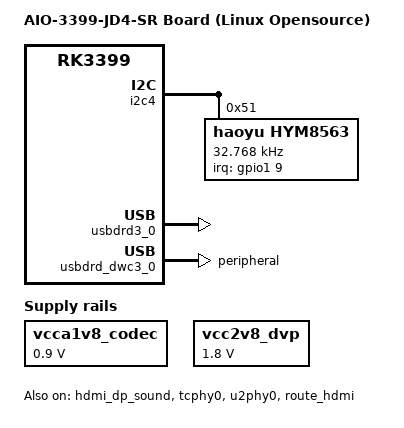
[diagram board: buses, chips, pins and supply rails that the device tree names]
/dts-v1/;

#include "rk3399-firefly-port.dtsi"
#include <dt-bindings/sensor-dev.h>

/ {
	model = "AIO-3399-JD4-SR Board (Linux Opensource)";
	compatible = "rockchip,rk3399-firefly", "rockchip,rk3399";
	
	/delete-node/ gpio-keys;
	/delete-node/ wireless-wlan;
	/delete-node/ wireless-bluetooth;
	test-power {
		status = "okay";
	};
};

&pwm3 {
	status = "disabled";
};

&sdio0 {
	status = "disabled";
};

&sdio_pwrseq {
	status = "disabled";
};

&i2s0 {
	status = "disabled";
};

&sdmmc {
	status = "disabled";
};

&rt5640 {
	status = "disabled";
};

/* rtc */
&spi1 {
    	status = "disabled";
};

&rk808{
	rtc {
		status = "disabled";
	};	
};

//pcie0 reset port
&pcie0 {
	ep-gpios = <&gpio1 4 GPIO_ACTIVE_HIGH>;
};


&i2c4 {
	status = "okay";
	hym8563: hym8563@51 {
		compatible = "haoyu,hym8563";
		reg = <0x51>;
		interrupt-parent = <&gpio1>;
		interrupts = <9 IRQ_TYPE_EDGE_FALLING>;
		pinctrl-names = "default";
		pinctrl-0 = <&rtc_int>;
		#clock-cells = <0>;
		clock-frequency = <32768>;
		clock-output-names = "xin32k";
	};
};

/* Usb 5v */

&vcc5v0_host {
	gpio = <&gpio1 23 GPIO_ACTIVE_HIGH>;
};

&host_vbus_drv {
	rockchip,pins = <1 23 RK_FUNC_GPIO &pcfg_pull_none>;
};

/* Mini pcie 4G */

&vcc3v3_3g {
	gpio = <&gpio1 17 GPIO_ACTIVE_HIGH>;
};

&pcie_3g_drv {
	rockchip,pins = <1 17 RK_FUNC_GPIO &pcfg_pull_up>;
};



&gmac {
	tx_delay = <0x2F>;
	rx_delay = <0x1E>;
};

&hdmi_dp_sound {
	status = "okay";
};

&i2c2 {
	status = "disabled";
	i2c-scl-rising-time-ns = <300>;
	i2c-scl-falling-time-ns = <15>;
};

&vcca1v8_codec {
	regulator-min-microvolt = <900000>;
	regulator-max-microvolt = <900000>;
};




&vcc3v3_pcie {
	/delete-property/ gpio;
};



&uart4 {
    status = "disabled";
};

&dp_in_vopb {
	status = "disabled";
};

&hdmi_in_vopl {
	status = "disabled";
};

&wdt {
	status = "disabled";
};

&io_domains {
	bt656-supply = <&vcc_3v0>;
};

&vcc2v8_dvp {
	regulator-min-microvolt = <1800000>;
	regulator-max-microvolt = <1800000>;
};

&vcca1v8_codec {
	regulator-min-microvolt = <900000>;
	regulator-max-microvolt = <900000>;
};

&fusb0 {
    status = "disabled";
};

&cdn_dp {
    status = "disabled";
};

&tcphy0 {
    /delete-property/ extcon;
    status = "okay";
};

&u2phy0 {
    status = "okay";
    /delete-property/ extcon;
};

&usbdrd3_0 {
    status = "okay";
    /delete-property/ extcon;
};

&usbdrd_dwc3_0 {
    dr_mode = "peripheral";
};

&route_hdmi {
	status = "okay";
};

&rk808 {
     /delete-property/ pmic,stby-gpio;
     /delete-property/ pmic,hold-gpio;
};

&pinctrl {
	hym8563 {
		rtc_int: rtc-int {
			rockchip,pins = <RK_GPIO1 9 RK_FUNC_GPIO &pcfg_pull_up>;
		};
	};
};

